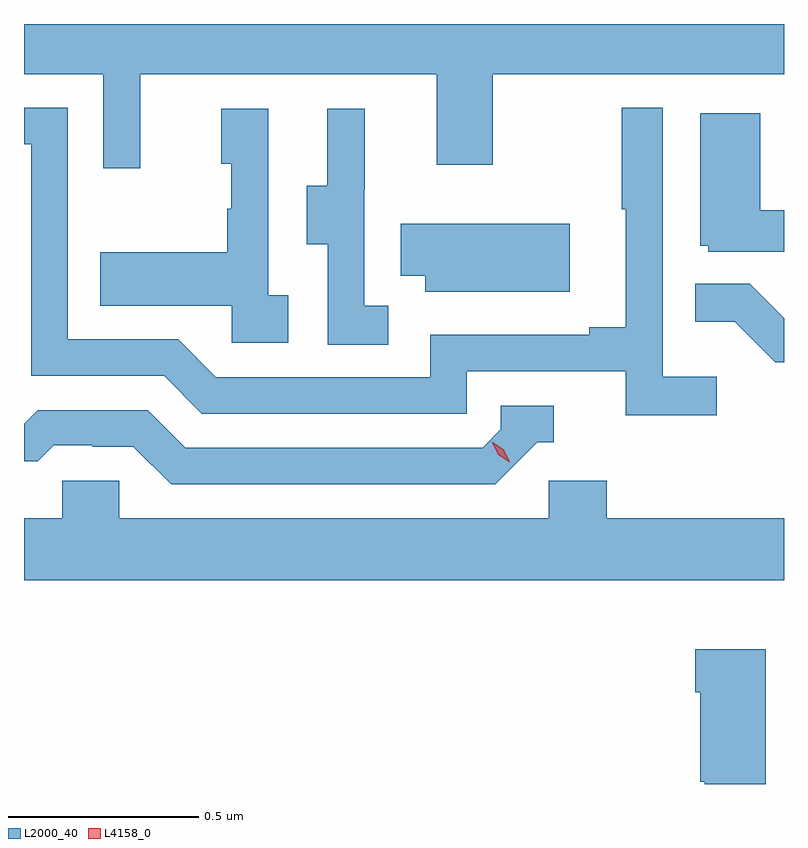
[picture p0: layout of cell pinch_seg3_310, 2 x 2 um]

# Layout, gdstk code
import gdstk
lib = gdstk.Library(unit=1e-6, precision=1e-09)
def P(c, l, *ps):  # polygons
    for p in ps: c.add(gdstk.Polygon(p, *l))
L2000_40 = (2000, 40)
L4158_0 = (4158, 0)

pinch_seg3_310 = lib.new_cell('pinch_seg3_310')
P(pinch_seg3_310, L2000_40, [(984.299,715.568),(984.507,715.568),(984.507,715.32),(984.605,715.32),(984.605,715.568),(985.385,715.568),(985.385,715.329),(985.533,715.329),(985.533,715.568),(986.299,715.568),(986.299,715.7),(984.299,715.7)],
  [(986.122,714.772),(985.98,714.772),(985.98,715.48),(985.872,715.48),(985.872,715.213),(985.883,715.213),(985.883,714.902),(985.787,714.902),(985.787,714.882),(985.368,714.882),(985.368,714.771),(984.804,714.771),(984.705,714.87),(984.414,714.87),(984.414,715.479),(984.299,715.479),(984.299,715.383),(984.318,715.383),(984.318,714.774),(984.668,714.774),(984.767,714.675),(985.464,714.675),(985.464,714.786),(985.883,714.786),(985.883,714.67),(986.122,714.67)],
  [(984.994,714.986),(984.942,714.986),(984.942,715.477),(984.818,715.477),(984.818,715.332),(984.844,715.332),(984.844,715.214),(984.834,715.214),(984.834,715.099),(984.499,715.099),(984.499,714.959),(984.846,714.959),(984.846,714.861),(984.994,714.861)],
  [(985.258,714.959),(985.194,714.959),(985.194,715.263),(985.196,715.263),(985.196,715.477),(985.097,715.477),(985.097,715.275),(985.043,715.275),(985.043,715.12),(985.098,715.12),(985.098,714.856),(985.258,714.856)],
  [(986.299,715.21),(986.236,715.21),(986.236,715.465),(986.078,715.465),(986.078,715.116),(986.1,715.116),(986.1,715.101),(986.299,715.101)],
  [(985.735,715.174),(985.291,715.174),(985.291,715.037),(985.355,715.037),(985.355,714.995),(985.735,714.995)],
  [(986.299,714.926),(986.209,715.016),(986.065,715.016),(986.065,714.917),(986.169,714.917),(986.276,714.81),(986.299,714.81)],
  [(985.65,714.6),(985.693,714.6),(985.693,714.696),(985.554,714.696),(985.554,714.633),(985.506,714.585),(984.723,714.585),(984.624,714.684),(984.335,714.684),(984.299,714.648),(984.299,714.549),(984.335,714.549),(984.377,714.591),(984.48,714.591),(984.48,714.588),(984.587,714.588),(984.686,714.489),(985.539,714.489)],
  [(986.299,714.4),(985.832,714.4),(985.832,714.498),(985.68,714.498),(985.68,714.4),(984.549,714.4),(984.549,714.498),(984.399,714.498),(984.399,714.4),(984.299,714.4),(984.299,714.236),(986.299,714.236)],
  [(986.251,714.055),(986.066,714.055),(986.066,713.942),(986.078,713.942),(986.078,713.706),(986.09,713.706),(986.09,713.7),(986.251,713.7)])
P(pinch_seg3_310, L4158_0, [(985.577,714.547),(985.547,714.567),(985.531,714.6),(985.531,714.6),(985.532,714.6),(985.562,714.58),(985.577,714.548),(985.577,714.547)])

lib.write_gds('pinch_seg3_310.gds')
